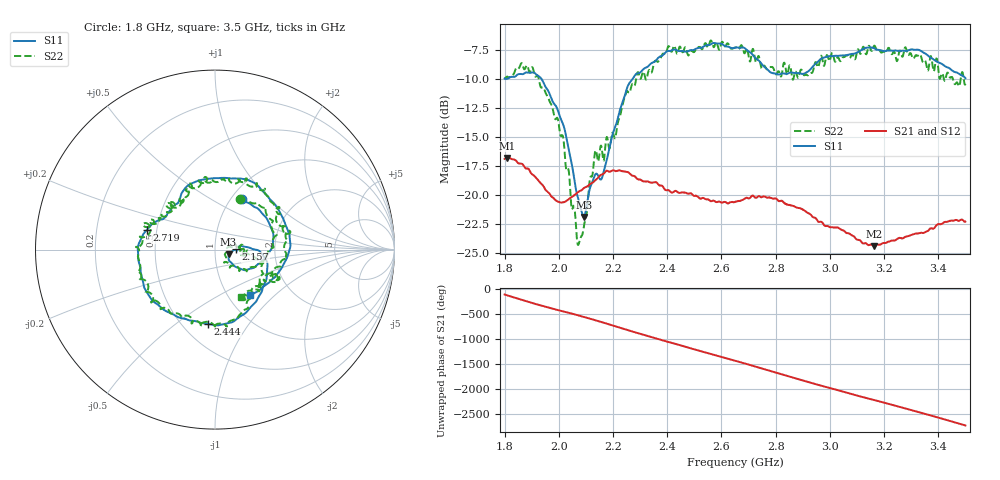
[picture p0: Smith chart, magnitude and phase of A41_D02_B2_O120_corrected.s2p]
! Created with skrf 1.9.0 (http://scikit-rf.org).
# Hz S RI R 50.0
!freq ReS11 ImS11 ReS21 ImS21 ReS12 ImS12 ReS22 ImS22
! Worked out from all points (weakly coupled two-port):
!   1601 points, 1.8 GHz to 3.5 GHz, reference 50 ohm
!   highest |S21| = -16.83 dB at 1.811 GHz (marker M1); lowest = -24.4 dB at 3.163 GHz (marker M2)
!   lowest |S11| = -21.9 dB at 2.092 GHz (marker M3), VSWR 1.17, Z = 58.1 - j3.14 ohm
!   |S11| at or under -10 dB: 1.801 GHz to 1.811 GHz (9.707 MHz wide, 0.537 % of centre); 1.935 GHz to 2.273 GHz (337.6 MHz wide, 16 % of centre)
!   |S22| runs from -24.3 to -6.7 dB; largest |S21 - S12| = 0.0025
!   S11 on the Smith chart (normalised r, x): 1.8 GHz: 1.12, +0.70; 2.157 GHz: 1.26, +0.01; 2.444 GHz: 0.66, -0.66; 2.719 GHz: 0.44, +0.11; 3.5 GHz: 1.26, -0.71
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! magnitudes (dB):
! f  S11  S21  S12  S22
! 1.8 GHz  -10.0  -16.9  -16.9  -10.0
! 1.811 GHz  -10.0  -16.8  -16.8  -9.8
! 1.902 GHz  -9.5  -18.2  -18.2  -9.0
! 1.966 GHz  -11.3  -19.9  -20.0  -11.9
! 2.02 GHz  -14.2  -20.6  -20.6  -15.9
! 2.07 GHz  -20.2  -19.8  -19.8  -24.3
! 2.084 GHz  -21.4  -19.6  -19.6  -23.5
! 2.092 GHz  -21.9  -19.4  -19.5  -22.8
! 2.131 GHz  -18.4  -18.8  -18.8  -16.6
! 2.157 GHz  -18.7  -18.3  -18.2  -15.8
! 2.209 GHz  -14.1  -18.0  -17.9  -15.0
! 2.257 GHz  -10.5  -18.1  -18.0  -11.2
! 2.367 GHz  -8.2  -19.1  -19.1  -8.5
! 2.444 GHz  -7.6  -19.8  -19.8  -7.3
! 2.65 GHz  -7.3  -20.6  -20.6  -7.3
! 2.719 GHz  -8.0  -20.1  -20.0  -7.6
! 2.806 GHz  -9.6  -20.4  -20.4  -9.5
! 2.934 GHz  -9.0  -21.8  -21.8  -9.5
! 3.163 GHz  -7.4  -24.4  -24.4  -7.2
! 3.217 GHz  -7.6  -24.0  -24.0  -7.3
! 3.33 GHz  -7.5  -23.3  -23.3  -7.9
! 3.5 GHz  -10.0  -22.3  -22.3  -10.5
